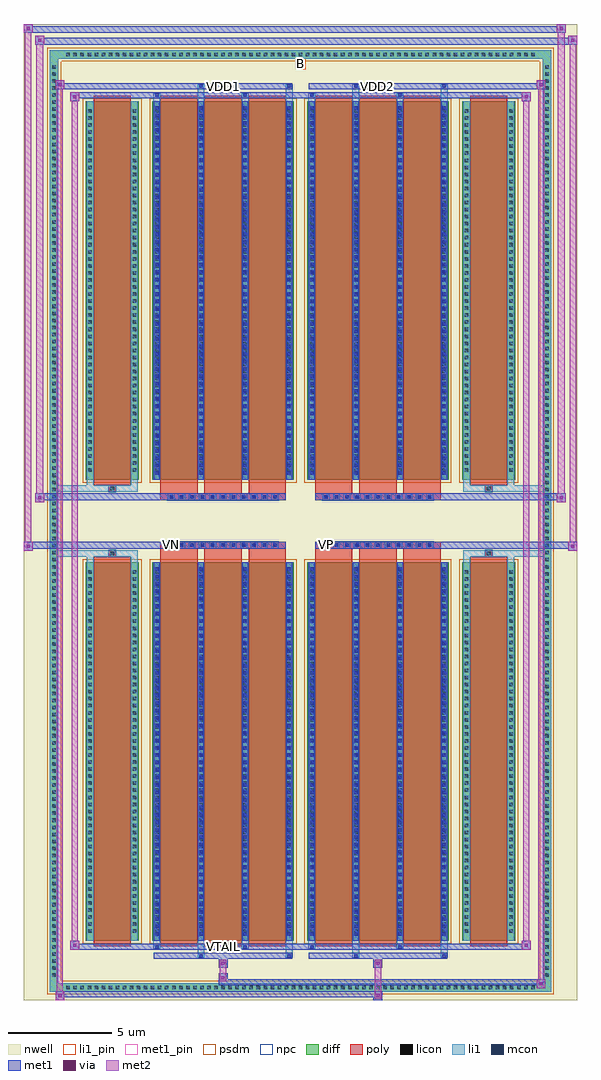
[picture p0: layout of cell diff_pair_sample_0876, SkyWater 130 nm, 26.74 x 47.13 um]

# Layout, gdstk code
import gdstk
lib = gdstk.Library(unit=1e-6, precision=5e-09)
def R(c, l, rs):  # rectangles x0, y0, x1, y1
    for r in rs: c.add(gdstk.rectangle(r[:2], r[2:], *l))
def A(c, l, x, y, w, h, nx, ny, dx, dy):  # array of equal rectangles
    R(c, l, [(x+i*dx, y+j*dy, x+i*dx+w, y+j*dy+h) for i in range(nx) for j in range(ny)])
def P(c, l, *ps):  # polygons
    for p in ps: c.add(gdstk.Polygon(p, *l))
nwell = (64, 20)
diff = (65, 20)
poly = (66, 20)
licon = (66, 44)
li1_pin = (67, 16)
li1 = (67, 20)
mcon = (67, 44)
met1_pin = (68, 16)
met1 = (68, 20)
via = (68, 44)
met2 = (69, 20)
psdm = (94, 20)
npc = (95, 20)

diff_pair_sample_0876 = lib.new_cell('diff_pair_sample_0876')
R(diff_pair_sample_0876, nwell, [(-13.37,-23.13,13.37,24), (-10.69,-21.32,-0.01,-0.8), (0.01,-21.32,10.69,-0.8), (-10.69,0.8,-0.01,21.32), (0.01,0.8,10.69,21.32)])
A(diff_pair_sample_0876, diff, -11.425, -22.73, 0.41, 0.41, 67, 2, 0.34, 45.05)
A(diff_pair_sample_0876, diff, -12.1, -22.135, 0.41, 0.41, 1, 130, 0, 0.34)
A(diff_pair_sample_0876, diff, 11.69, -22.135, 0.41, 0.41, 1, 130, 0, 0.34)
R(diff_pair_sample_0876, diff, [(-11.425,-22.73,11.425,-22.32), (-12.1,-22.135,-11.69,22.135), (11.69,-22.135,12.1,22.135), (-10.38,-20.275,-7.8,-1.985), (-7.16,-20.275,-0.32,-1.985), (0.32,-20.275,7.16,-1.985), (7.8,-20.275,10.38,-1.985), (-10.38,1.985,-7.8,20.275), (-7.16,1.985,-0.32,20.275), (0.32,1.985,7.16,20.275), (7.8,1.985,10.38,20.275), (-11.425,22.32,11.425,22.73)])
P(diff_pair_sample_0876, diff, [(12.1,22.73),(-12.1,22.73),(-12.1,-22.32),(-11.69,-22.32),(-11.69,22.32),(11.69,22.32),(11.69,-22.32),(-11.69,-22.32),(-12.1,-22.32),(-12.1,-22.73),(12.1,-22.73)])
A(diff_pair_sample_0876, poly, -6.77, -20.525, 1.8, 18.79, 3, 2, 2.13, 22.26)
A(diff_pair_sample_0876, poly, 0.71, -20.525, 1.8, 18.79, 3, 2, 2.13, 22.26)
A(diff_pair_sample_0876, poly, -6.77, -1.735, 1.8, 0.405, 3, 2, 2.13, 3.065)
A(diff_pair_sample_0876, poly, 0.71, -1.735, 1.8, 0.405, 3, 2, 2.13, 3.065)
A(diff_pair_sample_0876, poly, -6.405, -1.33, 0.33, 0.33, 11, 2, 0.5, 2.33)
A(diff_pair_sample_0876, poly, 1.075, -1.33, 0.33, 0.33, 11, 2, 0.5, 2.33)
R(diff_pair_sample_0876, poly, [(-9.99,-20.525,-8.19,-1.735), (8.19,-20.525,9.99,-1.735), (-9.255,-1.735,-8.925,-1.405), (-9.255,-1.735,-8.925,-1.405), (8.925,-1.735,9.255,-1.405), (8.925,-1.735,9.255,-1.405), (-6.77,-1.33,-0.71,-1), (0.71,-1.33,6.77,-1), (-6.77,1,-0.71,1.33), (0.71,1,6.77,1.33), (-9.255,1.405,-8.925,1.735), (-9.255,1.405,-8.925,1.735), (8.925,1.405,9.255,1.735), (8.925,1.405,9.255,1.735), (-9.99,1.735,-8.19,20.525), (8.19,1.735,9.99,20.525)])
A(diff_pair_sample_0876, licon, -11.305, -22.61, 0.17, 0.17, 67, 2, 0.34, 45.05)
A(diff_pair_sample_0876, licon, -11.98, -22.015, 0.17, 0.17, 1, 130, 0, 0.34)
A(diff_pair_sample_0876, licon, 11.81, -22.015, 0.17, 0.17, 1, 130, 0, 0.34)
A(diff_pair_sample_0876, licon, -10.24, -19.885, 0.17, 0.17, 1, 52, 0, 0.34)
A(diff_pair_sample_0876, licon, -8.11, -19.885, 0.17, 0.17, 1, 52, 0, 0.34)
A(diff_pair_sample_0876, licon, -7.02, -19.885, 0.17, 0.17, 4, 52, 2.13, 0.34)
A(diff_pair_sample_0876, licon, 0.46, -19.885, 0.17, 0.17, 4, 52, 2.13, 0.34)
A(diff_pair_sample_0876, licon, 7.94, -19.885, 0.17, 0.17, 1, 52, 0, 0.34)
A(diff_pair_sample_0876, licon, 10.07, -19.885, 0.17, 0.17, 1, 52, 0, 0.34)
A(diff_pair_sample_0876, licon, -6.325, -1.25, 0.17, 0.17, 11, 2, 0.5, 2.33)
A(diff_pair_sample_0876, licon, 1.155, -1.25, 0.17, 0.17, 11, 2, 0.5, 2.33)
A(diff_pair_sample_0876, licon, -10.24, 2.375, 0.17, 0.17, 1, 52, 0, 0.34)
A(diff_pair_sample_0876, licon, -8.11, 2.375, 0.17, 0.17, 1, 52, 0, 0.34)
A(diff_pair_sample_0876, licon, -7.02, 2.375, 0.17, 0.17, 4, 52, 2.13, 0.34)
A(diff_pair_sample_0876, licon, 0.46, 2.375, 0.17, 0.17, 4, 52, 2.13, 0.34)
A(diff_pair_sample_0876, licon, 7.94, 2.375, 0.17, 0.17, 1, 52, 0, 0.34)
A(diff_pair_sample_0876, licon, 10.07, 2.375, 0.17, 0.17, 1, 52, 0, 0.34)
R(diff_pair_sample_0876, licon, [(-9.175,-1.655,-9.005,-1.485), (9.005,-1.655,9.175,-1.485), (-9.175,1.485,-9.005,1.655), (9.005,1.485,9.175,1.655)])
R(diff_pair_sample_0876, li1_pin, [(-0.25,21.82,0.25,22.32)])
A(diff_pair_sample_0876, li1, -11.385, -22.69, 0.33, 0.33, 67, 2, 0.34, 45.05)
A(diff_pair_sample_0876, li1, -12.06, -22.095, 0.33, 0.33, 1, 130, 0, 0.34)
A(diff_pair_sample_0876, li1, 11.73, -22.095, 0.33, 0.33, 1, 130, 0, 0.34)
A(diff_pair_sample_0876, li1, -7.1, -20.275, 0.33, 18.29, 4, 2, 2.13, 22.26)
A(diff_pair_sample_0876, li1, 0.38, -20.275, 0.33, 18.29, 4, 2, 2.13, 22.26)
A(diff_pair_sample_0876, li1, -7.02, -20.035, 0.17, 0.17, 4, 50, 2.13, 0.36)
A(diff_pair_sample_0876, li1, -7.02, -20.035, 0.17, 17.81, 4, 2, 2.13, 22.26)
A(diff_pair_sample_0876, li1, 0.46, -20.035, 0.17, 0.17, 4, 50, 2.13, 0.36)
A(diff_pair_sample_0876, li1, 0.46, -20.035, 0.17, 17.81, 4, 2, 2.13, 22.26)
A(diff_pair_sample_0876, li1, -10.32, -19.965, 0.33, 0.33, 1, 52, 0, 0.34)
A(diff_pair_sample_0876, li1, -8.19, -19.965, 0.33, 0.33, 1, 52, 0, 0.34)
A(diff_pair_sample_0876, li1, -7.1, -19.965, 0.33, 0.33, 4, 52, 2.13, 0.34)
A(diff_pair_sample_0876, li1, 0.38, -19.965, 0.33, 0.33, 4, 52, 2.13, 0.34)
A(diff_pair_sample_0876, li1, 7.86, -19.965, 0.33, 0.33, 1, 52, 0, 0.34)
A(diff_pair_sample_0876, li1, 9.99, -19.965, 0.33, 0.33, 1, 52, 0, 0.34)
A(diff_pair_sample_0876, li1, -6.405, -1.33, 0.33, 0.33, 11, 2, 0.5, 2.33)
A(diff_pair_sample_0876, li1, 1.075, -1.33, 0.33, 0.33, 11, 2, 0.5, 2.33)
A(diff_pair_sample_0876, li1, -7.02, 2.225, 0.17, 0.17, 4, 50, 2.13, 0.36)
A(diff_pair_sample_0876, li1, 0.46, 2.225, 0.17, 0.17, 4, 50, 2.13, 0.36)
A(diff_pair_sample_0876, li1, -10.32, 2.295, 0.33, 0.33, 1, 52, 0, 0.34)
A(diff_pair_sample_0876, li1, -8.19, 2.295, 0.33, 0.33, 1, 52, 0, 0.34)
A(diff_pair_sample_0876, li1, -7.1, 2.295, 0.33, 0.33, 4, 52, 2.13, 0.34)
A(diff_pair_sample_0876, li1, 0.38, 2.295, 0.33, 0.33, 4, 52, 2.13, 0.34)
A(diff_pair_sample_0876, li1, 7.86, 2.295, 0.33, 0.33, 1, 52, 0, 0.34)
A(diff_pair_sample_0876, li1, 9.99, 2.295, 0.33, 0.33, 1, 52, 0, 0.34)
R(diff_pair_sample_0876, li1, [(-12.1,-22.73,-11.69,-22.32), (-12.1,-22.73,-11.69,-22.32), (-11.69,-22.73,11.69,-22.32), (11.69,-22.73,12.1,-22.32), (11.69,-22.73,12.1,-22.32), (-12.1,-22.32,-11.69,22.32), (11.69,-22.32,12.1,22.32), (-4.97,-21.08,-4.64,-20.275), (-4.89,-21.08,-4.72,-20.91), (-0.71,-21.08,-0.38,-20.275), (-0.63,-21.08,-0.46,-20.91), (2.51,-21.08,2.84,-20.275), (2.59,-21.08,2.76,-20.91), (6.77,-21.08,7.1,-20.275), (6.85,-21.08,7.02,-20.91), (-7.1,-20.65,-6.77,-20.275), (-7.02,-20.65,-6.85,-20.48), (-2.84,-20.65,-2.51,-20.275), (-2.76,-20.65,-2.59,-20.48), (0.38,-20.65,0.71,-20.275), (0.46,-20.65,0.63,-20.48), (4.64,-20.65,4.97,-20.275), (4.72,-20.65,4.89,-20.48), (-10.32,-20.275,-9.99,-1.985), (-8.19,-20.275,-7.86,-1.985), (7.86,-20.275,8.19,-1.985), (9.99,-20.275,10.32,-1.985), (-10.32,-1.985,-9.99,-1.405), (-8.19,-1.985,-7.86,-1.405), (7.86,-1.985,8.19,-1.405), (9.99,-1.985,10.32,-1.405), (-12.1,-1.735,-9.255,-1.405), (-10.32,-1.735,-9.255,-1.405), (-9.255,-1.735,-8.925,-1.405), (-8.925,-1.735,-7.86,-1.405), (7.86,-1.735,8.925,-1.405), (8.925,-1.735,9.255,-1.405), (8.925,-1.735,12.1,-1.405), (9.255,-1.735,10.32,-1.405), (-12.1,1.405,-9.255,1.735), (-10.32,1.405,-9.255,1.735), (-10.32,1.405,-9.99,1.985), (-9.255,1.405,-8.925,1.735), (-8.925,1.405,-7.86,1.735), (-8.19,1.405,-7.86,1.985), (7.86,1.405,8.925,1.735), (7.86,1.405,8.19,1.985), (8.925,1.405,9.255,1.735), (8.925,1.405,12.1,1.735), (9.255,1.405,10.32,1.735), (9.99,1.405,10.32,1.985), (-10.32,1.985,-9.99,20.275), (-8.19,1.985,-7.86,20.275), (7.86,1.985,8.19,20.275), (9.99,1.985,10.32,20.275), (-7.1,20.275,-6.77,20.65), (-4.97,20.275,-4.64,21.08), (-2.84,20.275,-2.51,20.65), (-0.71,20.275,-0.38,21.08), (0.38,20.275,0.71,20.65), (2.51,20.275,2.84,21.08), (4.64,20.275,4.97,20.65), (6.77,20.275,7.1,21.08), (-7.02,20.48,-6.85,20.65), (-2.76,20.48,-2.59,20.65), (0.46,20.48,0.63,20.65), (4.72,20.48,4.89,20.65), (-4.89,20.91,-4.72,21.08), (-0.63,20.91,-0.46,21.08), (2.59,20.91,2.76,21.08), (6.85,20.91,7.02,21.08), (-12.1,22.32,-11.69,22.73), (-12.1,22.32,-11.69,22.73), (-11.69,22.32,11.69,22.73), (11.69,22.32,12.1,22.73), (11.69,22.32,12.1,22.73)])
A(diff_pair_sample_0876, mcon, -7.02, -20.035, 0.17, 0.17, 4, 50, 2.13, 0.36)
A(diff_pair_sample_0876, mcon, 0.46, -20.035, 0.17, 0.17, 4, 50, 2.13, 0.36)
A(diff_pair_sample_0876, mcon, -6.325, -1.25, 0.17, 0.17, 11, 2, 0.5, 2.33)
A(diff_pair_sample_0876, mcon, 1.155, -1.25, 0.17, 0.17, 11, 2, 0.5, 2.33)
A(diff_pair_sample_0876, mcon, -7.02, 2.225, 0.17, 0.17, 4, 50, 2.13, 0.36)
A(diff_pair_sample_0876, mcon, 0.46, 2.225, 0.17, 0.17, 4, 50, 2.13, 0.36)
R(diff_pair_sample_0876, mcon, [(-4.89,-21.08,-4.72,-20.91), (-0.63,-21.08,-0.46,-20.91), (2.59,-21.08,2.76,-20.91), (6.85,-21.08,7.02,-20.91), (-7.02,-20.65,-6.85,-20.48), (-2.76,-20.65,-2.59,-20.48), (0.46,-20.65,0.63,-20.48), (4.72,-20.65,4.89,-20.48), (-7.02,20.48,-6.85,20.65), (-2.76,20.48,-2.59,20.65), (0.46,20.48,0.63,20.65), (4.72,20.48,4.89,20.65), (-4.89,20.91,-4.72,21.08), (-0.63,20.91,-0.46,21.08), (2.59,20.91,2.76,21.08), (6.85,20.91,7.02,21.08)])
R(diff_pair_sample_0876, met1_pin, [(-3.875,-20.69,-3.605,-20.42), (-6.375,-1.29,-6.105,-1.02), (1.105,-1.29,1.375,-1.02), (-3.875,20.87,-3.605,21.14), (3.605,20.87,3.875,21.14)])
A(diff_pair_sample_0876, met1, -7.08, -20.275, 0.29, 18.29, 4, 2, 2.13, 22.26)
A(diff_pair_sample_0876, met1, 0.4, -20.275, 0.29, 18.29, 4, 2, 2.13, 22.26)
A(diff_pair_sample_0876, met1, -7.08, -20.095, 0.29, 0.29, 4, 50, 2.13, 0.36)
A(diff_pair_sample_0876, met1, 0.4, -20.095, 0.29, 0.29, 4, 50, 2.13, 0.36)
A(diff_pair_sample_0876, met1, -6.385, -1.31, 0.29, 0.29, 11, 2, 0.5, 2.33)
A(diff_pair_sample_0876, met1, 1.095, -1.31, 0.29, 0.29, 11, 2, 0.5, 2.33)
A(diff_pair_sample_0876, met1, -7.08, 2.165, 0.29, 0.29, 4, 50, 2.13, 0.36)
A(diff_pair_sample_0876, met1, 0.4, 2.165, 0.29, 0.29, 4, 50, 2.13, 0.36)
R(diff_pair_sample_0876, met1, [(-11.83,-23.13,-11.4,-22.7), (3.525,-23.13,3.955,-22.7), (-11.83,-22.99,3.955,-22.7), (11.4,-22.56,11.83,-22.13), (-3.955,-22.42,11.83,-22.13), (-3.955,-22.28,-3.525,-21.85), (-3.955,-21.57,-3.525,-21.14), (3.525,-21.57,3.955,-21.14), (-7.08,-21.14,-0.4,-20.85), (-4.95,-21.14,-4.66,-20.85), (-0.69,-21.14,-0.4,-20.85), (0.4,-21.14,7.08,-20.85), (2.53,-21.14,2.82,-20.85), (6.79,-21.14,7.08,-20.85), (-11.12,-20.71,-10.69,-20.28), (-11.12,-20.71,-7.08,-20.42), (-7.08,-20.71,-6.79,-20.42), (-7.08,-20.71,-0.4,-20.42), (-2.82,-20.71,-2.53,-20.42), (-0.4,-20.71,0.4,-20.42), (0.4,-20.71,0.69,-20.42), (0.4,-20.71,7.08,-20.42), (4.66,-20.71,4.95,-20.42), (7.08,-20.71,11.12,-20.42), (10.69,-20.71,11.12,-20.28), (-13.37,-1.43,-12.94,-1), (12.94,-1.43,13.37,-1), (-13.37,-1.33,-0.71,-1), (-6.77,-1.33,-0.71,-1), (0.71,-1.33,6.77,-1), (0.71,-1.33,13.37,-1), (-12.8,0.9,-12.37,1.33), (12.37,0.9,12.8,1.33), (-12.8,1,-6.77,1.33), (-6.77,1,-0.71,1.33), (0.71,1,6.77,1.33), (6.77,1,12.8,1.33), (-11.12,20.28,-10.69,20.71), (10.69,20.28,11.12,20.71), (-11.12,20.42,-7.08,20.71), (-7.08,20.42,-6.79,20.71), (-7.08,20.42,-0.4,20.71), (-2.82,20.42,-2.53,20.71), (-0.4,20.42,0.4,20.71), (0.4,20.42,0.69,20.71), (0.4,20.42,7.08,20.71), (4.66,20.42,4.95,20.71), (7.08,20.42,11.12,20.71), (-11.83,20.85,-11.4,21.28), (-11.83,20.85,-7.08,21.14), (-7.08,20.85,-0.4,21.14), (-4.95,20.85,-4.66,21.14), (-0.69,20.85,-0.4,21.14), (0.4,20.85,7.08,21.14), (2.53,20.85,2.82,21.14), (6.79,20.85,7.08,21.14), (7.08,20.85,11.83,21.14), (11.4,20.85,11.83,21.28), (-12.8,23,-12.37,23.43), (-12.8,23,-10.69,23.33), (-10.69,23,10.69,23.33), (10.69,23,13.37,23.33), (12.94,23,13.37,23.43), (-13.37,23.57,-12.94,24), (-13.37,23.57,-10.69,23.9), (-10.69,23.57,10.69,23.9), (10.69,23.57,12.8,23.9), (12.37,23.57,12.8,24)])
R(diff_pair_sample_0876, via, [(-11.69,-22.99,-11.54,-22.84), (3.665,-22.99,3.815,-22.84), (11.54,-22.42,11.69,-22.27), (-3.815,-22.14,-3.665,-21.99), (-3.815,-21.43,-3.665,-21.28), (3.665,-21.43,3.815,-21.28), (-10.98,-20.57,-10.83,-20.42), (10.83,-20.57,10.98,-20.42), (-13.23,-1.29,-13.08,-1.14), (13.08,-1.29,13.23,-1.14), (-12.66,1.04,-12.51,1.19), (12.51,1.04,12.66,1.19), (-10.98,20.42,-10.83,20.57), (10.83,20.42,10.98,20.57), (-11.69,20.99,-11.54,21.14), (11.54,20.99,11.69,21.14), (-12.66,23.14,-12.51,23.29), (13.08,23.14,13.23,23.29), (-13.23,23.71,-13.08,23.86), (12.51,23.71,12.66,23.86)])
R(diff_pair_sample_0876, met2, [(-11.83,-23.13,-11.4,-22.7), (-11.76,-23.13,-11.47,21.28), (-11.47,-23.13,-11.4,-22.7), (-11.78,-23.08,-11.45,-22.75), (3.575,-23.08,3.905,-22.75), (3.575,-22.75,3.905,-21.52), (11.4,-22.56,11.83,-22.13), (11.47,-22.56,11.76,21.28), (11.76,-22.56,11.83,-22.13), (11.45,-22.51,11.78,-22.18), (-3.905,-22.23,-3.575,-21.9), (-3.905,-21.9,-3.575,-21.52), (-3.905,-21.52,-3.575,-21.19), (3.575,-21.52,3.905,-21.19), (-11.12,-20.71,-10.69,-20.28), (-11.05,-20.71,-10.76,20.71), (-10.76,-20.71,-10.69,-20.28), (10.69,-20.71,11.12,-20.28), (10.76,-20.71,11.05,20.71), (11.05,-20.71,11.12,-20.28), (-11.07,-20.66,-10.74,-20.33), (10.74,-20.66,11.07,-20.33), (-13.37,-1.43,-12.94,-1), (-13.32,-1.43,-12.99,24), (-12.99,-1.43,-12.94,-1), (12.94,-1.43,13.37,-1), (12.99,-1.43,13.32,23.43), (13.32,-1.43,13.37,-1), (-13.32,-1.38,-12.99,-1.05), (12.99,-1.38,13.32,-1.05), (-12.8,0.9,-12.37,1.33), (-12.75,0.9,-12.42,23.43), (-12.42,0.9,-12.37,1.33), (12.37,0.9,12.8,1.33), (12.42,0.9,12.75,24), (12.75,0.9,12.8,1.33), (-12.75,0.95,-12.42,1.28), (12.42,0.95,12.75,1.28), (-11.12,20.28,-10.69,20.71), (-10.76,20.28,-10.69,20.71), (10.69,20.28,11.12,20.71), (11.05,20.28,11.12,20.71), (-11.07,20.33,-10.74,20.66), (10.74,20.33,11.07,20.66), (-11.83,20.85,-11.4,21.28), (-11.47,20.85,-11.4,21.28), (11.4,20.85,11.83,21.28), (11.76,20.85,11.83,21.28), (-11.78,20.9,-11.45,21.23), (11.45,20.9,11.78,21.23), (-12.8,23,-12.37,23.43), (-12.42,23,-12.37,23.43), (12.94,23,13.37,23.43), (13.32,23,13.37,23.43), (-12.75,23.05,-12.42,23.38), (12.99,23.05,13.32,23.38), (-13.37,23.57,-12.94,24), (-12.99,23.57,-12.94,24), (12.37,23.57,12.8,24), (12.75,23.57,12.8,24), (-13.32,23.62,-12.99,23.95), (12.42,23.62,12.75,23.95)])
R(diff_pair_sample_0876, psdm, [(-10.51,-20.405,-7.67,-1.855), (-7.29,-20.405,-0.19,-1.855), (0.19,-20.405,7.29,-1.855), (7.67,-20.405,10.51,-1.855), (-10.51,1.855,-7.67,20.405), (-7.29,1.855,-0.19,20.405), (0.19,1.855,7.29,20.405), (7.67,1.855,10.51,20.405)])
P(diff_pair_sample_0876, psdm, [(12.23,22.86),(-12.23,22.86),(-12.23,-22.19),(-11.56,-22.19),(-11.56,22.19),(11.56,22.19),(11.56,-22.19),(-11.56,-22.19),(-12.23,-22.19),(-12.23,-22.86),(12.23,-22.86)])
A(diff_pair_sample_0876, npc, -6.425, -1.35, 0.37, 0.37, 11, 2, 0.5, 2.33)
A(diff_pair_sample_0876, npc, 1.055, -1.35, 0.37, 0.37, 11, 2, 0.5, 2.33)
R(diff_pair_sample_0876, npc, [(-9.275,-1.755,-8.905,-1.385), (8.905,-1.755,9.275,-1.385), (-6.425,-1.35,-5.555,-0.98), (-6.425,-1.35,-5.555,-0.98), (-5.925,-1.35,-5.055,-0.98), (-5.925,-1.35,-5.055,-0.98), (-5.425,-1.35,-4.555,-0.98), (-5.425,-1.35,-4.555,-0.98), (-4.925,-1.35,-4.055,-0.98), (-4.925,-1.35,-4.055,-0.98), (-4.425,-1.35,-3.555,-0.98), (-4.425,-1.35,-3.555,-0.98), (-3.925,-1.35,-3.055,-0.98), (-3.925,-1.35,-3.055,-0.98), (-3.425,-1.35,-2.555,-0.98), (-3.425,-1.35,-2.555,-0.98), (-2.925,-1.35,-2.055,-0.98), (-2.925,-1.35,-2.055,-0.98), (-2.425,-1.35,-1.555,-0.98), (-2.425,-1.35,-1.555,-0.98), (-1.925,-1.35,-1.055,-0.98), (-1.925,-1.35,-1.055,-0.98), (1.055,-1.35,1.925,-0.98), (1.055,-1.35,1.925,-0.98), (1.555,-1.35,2.425,-0.98), (1.555,-1.35,2.425,-0.98), (2.055,-1.35,2.925,-0.98), (2.055,-1.35,2.925,-0.98), (2.555,-1.35,3.425,-0.98), (2.555,-1.35,3.425,-0.98), (3.055,-1.35,3.925,-0.98), (3.055,-1.35,3.925,-0.98), (3.555,-1.35,4.425,-0.98), (3.555,-1.35,4.425,-0.98), (4.055,-1.35,4.925,-0.98), (4.055,-1.35,4.925,-0.98), (4.555,-1.35,5.425,-0.98), (4.555,-1.35,5.425,-0.98), (5.055,-1.35,5.925,-0.98), (5.055,-1.35,5.925,-0.98), (5.555,-1.35,6.425,-0.98), (5.555,-1.35,6.425,-0.98), (-6.425,0.98,-5.555,1.35), (-6.425,0.98,-5.555,1.35), (-5.925,0.98,-5.055,1.35), (-5.925,0.98,-5.055,1.35), (-5.425,0.98,-4.555,1.35), (-5.425,0.98,-4.555,1.35), (-4.925,0.98,-4.055,1.35), (-4.925,0.98,-4.055,1.35), (-4.425,0.98,-3.555,1.35), (-4.425,0.98,-3.555,1.35), (-3.925,0.98,-3.055,1.35), (-3.925,0.98,-3.055,1.35), (-3.425,0.98,-2.555,1.35), (-3.425,0.98,-2.555,1.35), (-2.925,0.98,-2.055,1.35), (-2.925,0.98,-2.055,1.35), (-2.425,0.98,-1.555,1.35), (-2.425,0.98,-1.555,1.35), (-1.925,0.98,-1.055,1.35), (-1.925,0.98,-1.055,1.35), (1.055,0.98,1.925,1.35), (1.055,0.98,1.925,1.35), (1.555,0.98,2.425,1.35), (1.555,0.98,2.425,1.35), (2.055,0.98,2.925,1.35), (2.055,0.98,2.925,1.35), (2.555,0.98,3.425,1.35), (2.555,0.98,3.425,1.35), (3.055,0.98,3.925,1.35), (3.055,0.98,3.925,1.35), (3.555,0.98,4.425,1.35), (3.555,0.98,4.425,1.35), (4.055,0.98,4.925,1.35), (4.055,0.98,4.925,1.35), (4.555,0.98,5.425,1.35), (4.555,0.98,5.425,1.35), (5.055,0.98,5.925,1.35), (5.055,0.98,5.925,1.35), (5.555,0.98,6.425,1.35), (5.555,0.98,6.425,1.35), (-9.275,1.385,-8.905,1.755), (8.905,1.385,9.275,1.755)])
diff_pair_sample_0876.add(gdstk.Label('VTAIL', (-3.74,-20.555), layer=68, texttype=5))
diff_pair_sample_0876.add(gdstk.Label('VN', (-6.24,-1.155), layer=68, texttype=5))
diff_pair_sample_0876.add(gdstk.Label('VP', (1.24,-1.155), layer=68, texttype=5))
diff_pair_sample_0876.add(gdstk.Label('B', (0,22.07), layer=67, texttype=5))
diff_pair_sample_0876.add(gdstk.Label('VDD2', (3.74,21.005), layer=68, texttype=5))
diff_pair_sample_0876.add(gdstk.Label('VDD1', (-3.74,21.005), layer=68, texttype=5))

lib.write_gds('diff_pair_sample_0876.gds')
